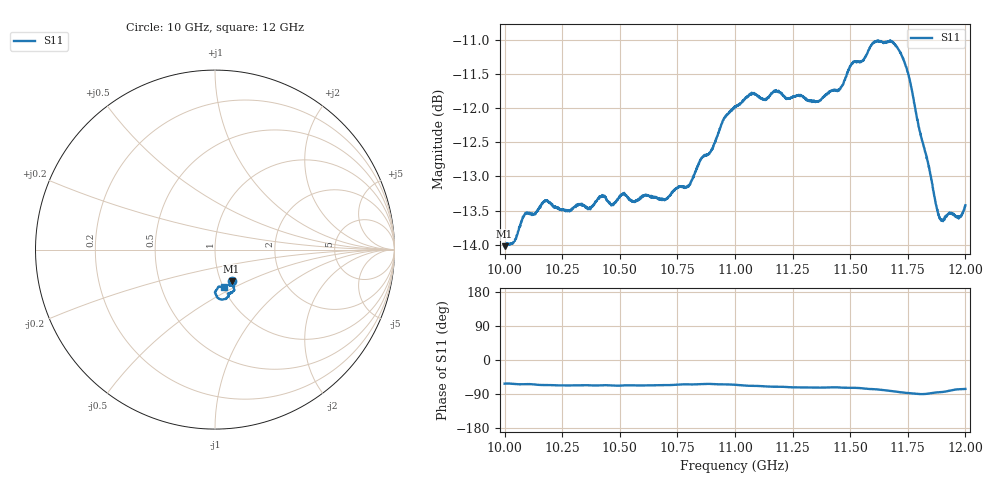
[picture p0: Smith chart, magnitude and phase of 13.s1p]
[Version] 2.0
! Rohde & Schwarz Vector Network Analyzer
! Rohde-Schwarz,ZNL20-2Port,1323001220200009,1.71.1.10-23.02.1.238
! Port Assignments:
! Nominal Port -> Actual Test Port
!  1 -> 1
! Created: GMT 2024-09-04 14:21:15
# Hz S DB R 50
[Number of Ports] 1
! freq[Hz]  S11[mag dB]  S11[ang]
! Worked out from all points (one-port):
!   2001 points, 10 GHz to 12 GHz, reference 50 ohm
!   lowest |S11| = -14.0 dB at 10 GHz (marker M1), VSWR 1.50, Z = 56.2 - j20.6 ohm
!   |S11| at or under -10 dB: start of sweep to end of sweep
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[Number of Frequencies] 28
[Network Data]
1e10  -14.02 -62.3
1.0041e10  -13.94 -63.1
1.0088e10  -13.55 -63.9
1.0172e10  -13.37 -66.1
1.025e10  -13.48 -67.0
1.0423e10  -13.27 -66.7
1.0469e10  -13.40 -67.3
1.05e10  -13.29 -67.6
1.0692e10  -13.33 -66.1
1.075e10  -13.17 -65.1
1.0801e10  -13.13 -64.4
1.0873e10  -12.69 -62.9
1.0902e10  -12.59 -63.5
1.0956e10  -12.13 -64.3
1.1e10  -11.97 -65.5
1.1072e10  -11.77 -68.1
1.125e10  -11.83 -72.1
1.1364e10  -11.90 -72.8
1.1457e10  -11.72 -72.6
1.15e10  -11.38 -73.5
1.1615e10  -11.01 -77.4
1.1675e10  -11.02 -81.7
1.1715e10  -11.17 -84.8
1.175e10  -11.47 -87.2
1.1814e10  -12.50 -90.0
1.1888e10  -13.60 -85.0
1.1973e10  -13.59 -77.1
1.2e10  -13.42 -76.3
[End]
